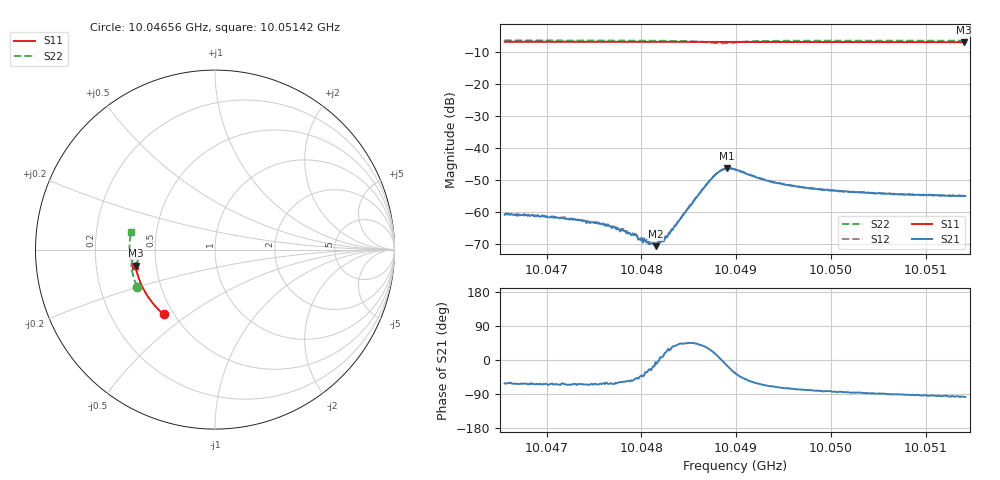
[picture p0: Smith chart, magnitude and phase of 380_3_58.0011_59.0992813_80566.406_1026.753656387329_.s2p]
#  HZ  S  RI  R  50.00
! Rohde & Schwarz Vector Network Analyzer
! Rohde-Schwarz,ZNB20-2Port,1311601062101988,3.16
! Created: UTC 3/21/2024, 1:07:18 AM
! freq[Hz]  re:S11  im:S11  re:S21  im:S21  re:S12  im:S12  re:S22  im:S22
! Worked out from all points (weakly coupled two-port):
!   401 points, 10.04656 GHz to 10.05142 GHz, reference 50 ohm
!   highest |S21| = -46.30 dB at 10.0489 GHz (marker M1); lowest = -70.5 dB at 10.04815 GHz (marker M2)
!   lowest |S11| = -6.9 dB at 10.05141 GHz (marker M3), VSWR 2.65, Z = 19 - j4.32 ohm
!   |S11| at or under -10 dB: nowhere
!   |S22| runs from -7.2 to -6.4 dB; largest |S21 - S12| = 0.00034
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1.0046558e10  -0.2864 -0.3607  0.000438 -0.000808  0.000512 -0.000793  -0.4344 -0.2057
1.0046874e10  -0.3019 -0.3468  0.000384 -0.000773  0.000455 -0.000773  -0.4428 -0.186
1.0047372e10  -0.3253 -0.3236  0.000332 -0.000666  0.000357 -0.000653  -0.4537 -0.1539
1.0047628e10  -0.3365 -0.3111  0.000321 -0.000538  0.000319 -0.000549  -0.4585 -0.1367
1.0047859e10  -0.3462 -0.2993  0.00027 -0.000383  0.000293 -0.00038  -0.462 -0.1204
1.0047932e10  -0.3493 -0.2955  0.000288 -0.000349  0.000324 -0.000329  -0.4629 -0.1153
1.0047992e10  -0.3519 -0.2926  0.000272 -0.00025  0.000298 -0.000255  -0.4636 -0.1105
1.0048053e10  -0.3543 -0.2893  0.000313 -0.000198  0.000283 -0.000187  -0.4643 -0.1061
1.004809e10  -0.3558 -0.2874  0.000296 -0.000132  0.00032 -0.00013  -0.4647 -0.1034
1.004815e10  -0.3583 -0.2841  0.000296 -2.89e-05  0.000331 -1.8e-05  -0.465 -0.0985
1.0048187e10  -0.3595 -0.2824  0.000351 -1.23e-05  0.000325 4.63e-05  -0.4653 -0.0956
1.004826e10  -0.3625 -0.2785  0.000402 0.000147  0.000379 0.000176  -0.4656 -0.0898
1.0048539e10  -0.3729 -0.2632  0.00098 0.000992  0.000972 0.00107  -0.4609 -0.0642
1.0048746e10  -0.3799 -0.2517  0.00313 0.00134  0.00306 0.00158  -0.4415 -0.0504
1.0048831e10  -0.3829 -0.247  0.0044 0.000292  0.00442 0.000589  -0.4313 -0.0567
1.0048904e10  -0.3852 -0.2431  0.00468 -0.00124  0.00478 -0.000946  -0.4314 -0.0675
1.0048989e10  -0.3881 -0.2384  0.00384 -0.00262  0.00406 -0.00239  -0.4415 -0.0743
1.0049378e10  -0.4006 -0.216  0.00105 -0.00278  0.00121 -0.00275  -0.4707 -0.0467
1.0049804e10  -0.4125 -0.1908  0.000408 -0.00233  0.000576 -0.00233  -0.476 -0.0132
1.0050618e10  -0.4308 -0.1406  -4.31e-06 -0.00196  0.000143 -0.00197  -0.4745 0.0442
1.0051408e10  -0.4428 -0.0903  -0.000231 -0.00178  -0.000119 -0.0018  -0.4664 0.0962
1.005142e10  -0.4431 -0.0896  -0.000247 -0.00179  -0.000122 -0.0018  -0.4664 0.0972
